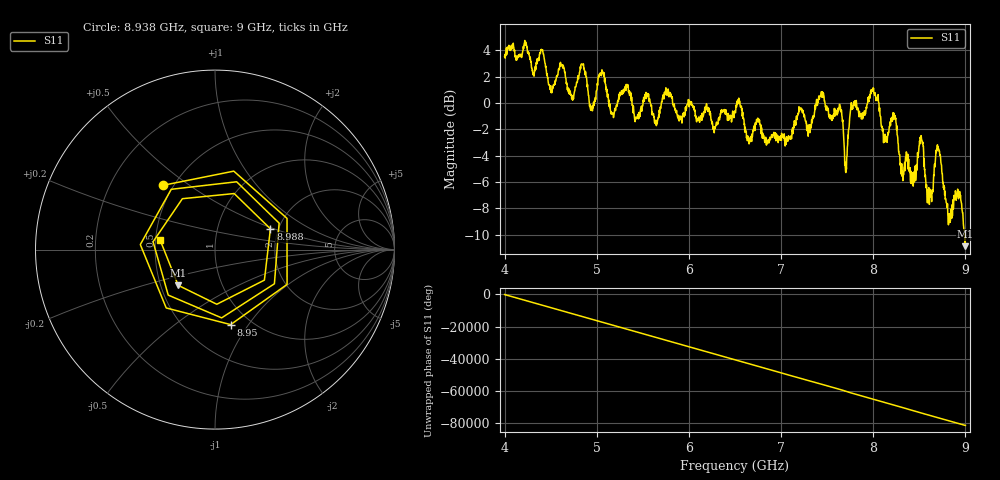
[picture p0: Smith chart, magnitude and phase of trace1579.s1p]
! Created with skrf 1.8.0 (http://scikit-rf.org).
# Hz S RI R 50.0
!freq ReS11 ImS11
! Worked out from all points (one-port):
!   1601 points, 4 GHz to 9 GHz, reference 50 ohm
!   lowest |S11| = -10.9 dB at 8.997 GHz (marker M1), VSWR 1.80, Z = 30.8 - j13.3 ohm
!   |S11| at or under -10 dB: 8.992143 GHz to end of sweep
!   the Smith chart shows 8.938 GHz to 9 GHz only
!   S11 on the Smith chart (normalised r, x): 8.938 GHz: 0.44, +0.40; 8.95 GHz: 0.81, -0.83; 8.988 GHz: 1.81, +0.47; 9 GHz: 0.53, +0.06
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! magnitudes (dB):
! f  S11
! 4 GHz  3.5
! 4.503 GHz  0.8
! 4.625 GHz  2.8
! 4.731 GHz  0.4
! 4.853 GHz  2.9
! 4.944 GHz  -0.6
! 5.047 GHz  2.2
! 5.166 GHz  -0.9
! 5.25 GHz  0.8
! 5.875 GHz  -1.0
! 6.5 GHz  -0.6
! 7.125 GHz  -1.9
! 7.441 GHz  0.8
! 7.644 GHz  -0.3
! 7.703 GHz  -5.3
! 7.75 GHz  -0.8
! 7.997 GHz  1.1
! 8.375 GHz  -3.9
! 8.441 GHz  -6.0
! 8.522 GHz  -2.6
! 8.609 GHz  -7.7
! 8.706 GHz  -3.4
! 8.828 GHz  -9.1
! 8.938 GHz  -6.7
! 8.95 GHz  -7.4
! 8.988 GHz  -9.6
! 8.997 GHz  -10.9
! 9 GHz  -10.2
